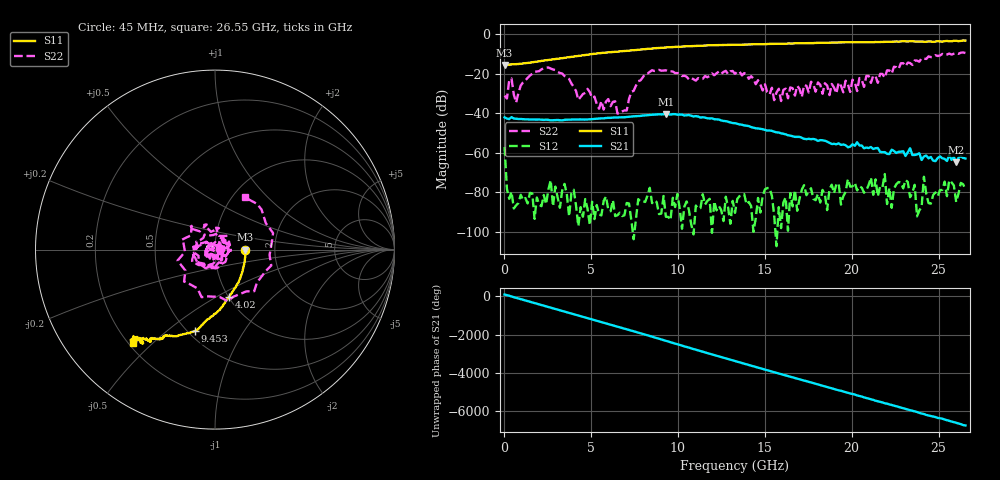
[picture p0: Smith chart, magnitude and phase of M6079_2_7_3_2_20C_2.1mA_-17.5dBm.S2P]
!  2-Port S-parameters saved by WinCal
! VAR MeasName=S-Parameters (CALIBRATED_DATA) read from VNA (C)
! VAR MeasDate=10/5/2015 5:59:47 PM
! VAR NAME=M6079_2_7_3_2_20C_2.1mA_-17.5dBm
! VAR FILENAME=M6079_2_7_3_2_20C_2.1mA_-17.5dBm.S2P
! VAR DATE=10/5/2015 5:59:47 PM
! VAR PHYS_PORTS=2,1
! VAR ObjTypeName=DATASET
! VAR IndexType=Frequency
# Hz S RI R 50
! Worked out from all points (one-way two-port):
!   201 points, 45 MHz to 26.55 GHz, reference 50 ohm
!   highest |S21| = -40.38 dB at 9.32 GHz (marker M1); lowest = -64.7 dB at 26.02 GHz (marker M2)
!   lowest |S11| = -15.5 dB at 45 MHz (marker M3), VSWR 1.40, Z = 70.2 - j0.16 ohm
!   |S11| at or under -10 dB: start of sweep to 5.06 GHz
!   |S22| runs from -40.1 to -9.2 dB; largest |S21 - S12| = 0.0096
!   S11 on the Smith chart (normalised r, x): 45 MHz: 1.40, -0.00; 4.02 GHz: 1.01, -0.57; 9.453 GHz: 0.54, -0.63; 26.55 GHz: 0.22, -0.43
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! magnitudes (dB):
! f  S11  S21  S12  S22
! 45 MHz  -15.5  -42.0  -57.0  -31.1
! 177.5 MHz  -15.4  -42.6  -78.1  -32.5
! 310 MHz  -15.4  -42.9  -83.2  -23.3
! 707.5 MHz  -15.2  -42.7  -86.6  -34.6
! 2.43 GHz  -13.2  -43.2  -86.0  -16.9
! 4.02 GHz  -11.3  -43.2  -78.6  -26.6
! 4.55 GHz  -10.6  -43.1  -92.3  -30.2
! 6.67 GHz  -8.7  -42.0  -90.2  -39.8
! 8.922 GHz  -6.9  -40.5  -91.0  -18.0
! 9.32 GHz  -6.7  -40.4  -92.3  -18.2
! 9.453 GHz  -6.6  -40.4  -92.3  -18.8
! 13.29 GHz  -5.3  -45.0  -90.3  -20.1
! 15.55 GHz  -4.8  -49.3  -91.5  -33.3
! 17.8 GHz  -4.5  -53.0  -83.3  -25.3
! 20.32 GHz  -4.1  -54.6  -79.0  -28.7
! 21.11 GHz  -4.1  -57.0  -72.4  -24.6
! 21.51 GHz  -4.0  -57.5  -81.9  -24.6
! 21.91 GHz  -3.8  -59.6  -70.7  -22.0
! 22.17 GHz  -3.8  -60.6  -77.7  -18.3
! 24.16 GHz  -3.7  -61.8  -72.1  -12.3
! 26.02 GHz  -3.2  -64.7  -84.9  -9.5
! 26.55 GHz  -3.2  -62.8  -78.5  -9.5
